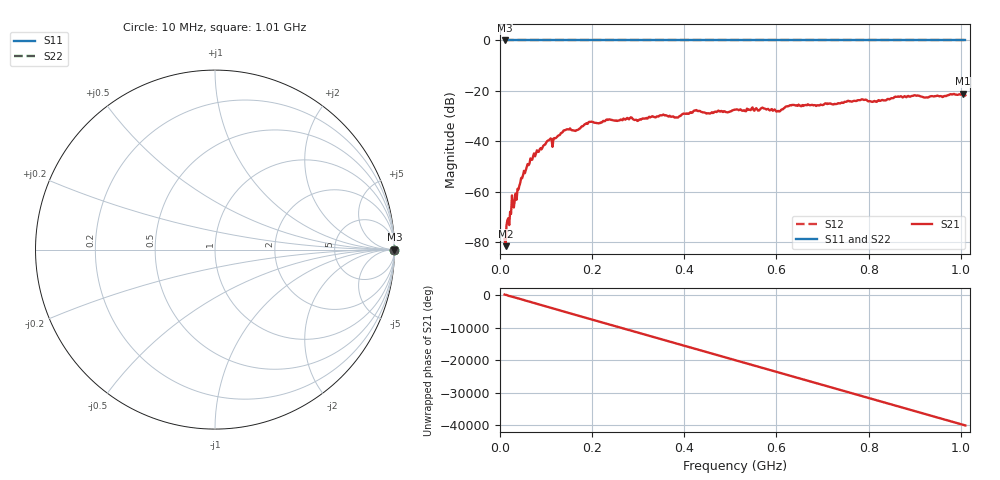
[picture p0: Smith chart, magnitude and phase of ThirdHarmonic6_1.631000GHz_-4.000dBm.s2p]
! 8/16/2025 7:29:32 PM
! C:\ANRITSUVNA\TEMP\TEMP.S2P
! CHANNEL.1
! TR.MEASUREMENT
! RAW.DATA
! RF.CORRECTION.OFF
! AVERAGING.OFF
! IF.BANDWIDTH: 5KHZ
! SWEEPTYPE:  FREQ.SWEEP(Linear)
! Reference Plane Port Info
! PORT:  PORT1  PORT2
! DISTANCE:  0  m  0  m
! TIME:  0  s  0  s
! PHASE.OFFSET:  0  deg.  0  deg.
! LOSS:  0  dB  0  dB
! REF.LOSS:  0  dB  0  dB
! REF.FREQ:  0  Hz  0  Hz
! Power Info
! POWER:  -20  dBm  -20  dBm
! EFF.POWER:  -20  dBm  -20  dBm
! SOURCE.ATTEN:  0  dB  0  dB
! TEST.ATTEN:  0  dB  0  dB
# GHZ S RI R 50.0
! FREQ.GHZ  S11RE  S11IM  S21RE  S21IM  S12RE  S12IM  S22RE  S22IM
!; PortSelection: Port_12
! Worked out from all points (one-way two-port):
!   501 points, 10 MHz to 1.01 GHz, reference 50 ohm
!   highest |S21| = -21.15 dB at 1.004 GHz (marker M1); lowest = -81.6 dB at 12 MHz (marker M2)
!   lowest |S11| = 0.0 dB at 10 MHz (marker M3)
!   |S11| at or under -10 dB: nowhere
!   |S22| runs from 0.0 to 0.0 dB; largest |S21 - S12| = 1.1
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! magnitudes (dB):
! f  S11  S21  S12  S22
! 10 MHz  0.0  -78.7  0.0  0.0
! 12 MHz  0.0  -81.6  0.0  0.0
! 30 MHz  0.0  -66.2  0.0  0.0
! 32 MHz  0.0  -63.6  0.0  0.0
! 48 MHz  0.0  -54.6  0.0  0.0
! 70 MHz  0.0  -47.3  0.0  0.0
! 106 MHz  0.0  -39.6  0.0  0.0
! 118 MHz  0.0  -38.7  0.0  0.0
! 142 MHz  0.0  -35.5  0.0  0.0
! 178 MHz  0.0  -34.0  0.0  0.0
! 196 MHz  0.0  -32.3  0.0  0.0
! 344 MHz  0.0  -30.2  0.0  0.0
! 382 MHz  0.0  -30.5  0.0  0.0
! 424 MHz  0.0  -27.7  0.0  0.0
! 452 MHz  0.0  -28.9  0.0  0.0
! 510 MHz  0.0  -27.4  0.0  0.0
! 604 MHz  0.0  -27.9  0.0  0.0
! 632 MHz  0.0  -25.7  0.0  0.0
! 678 MHz  0.0  -25.6  0.0  0.0
! 844 MHz  0.0  -23.3  0.0  0.0
! 1.004 GHz  0.0  -21.1  0.0  0.0
! 1.01 GHz  0.0  -21.7  0.0  0.0
